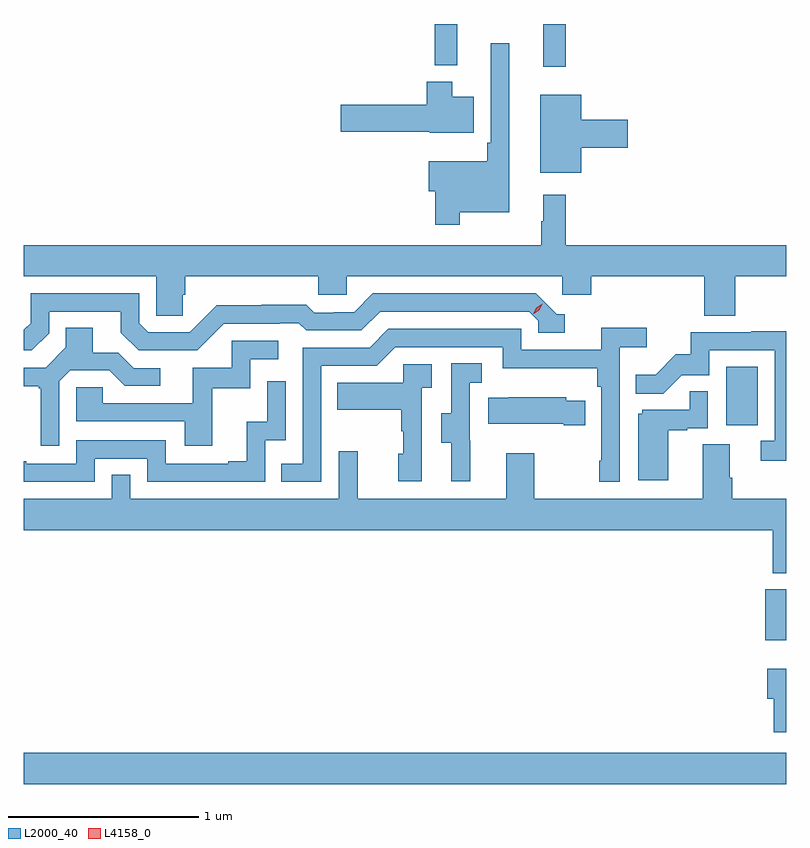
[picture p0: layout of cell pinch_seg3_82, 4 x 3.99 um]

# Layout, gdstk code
import gdstk
lib = gdstk.Library(unit=1e-6, precision=1e-09)
def R(c, l, rs):  # rectangles x0, y0, x1, y1
    for r in rs: c.add(gdstk.rectangle(r[:2], r[2:], *l))
def P(c, l, *ps):  # polygons
    for p in ps: c.add(gdstk.Polygon(p, *l))
L2000_40 = (2000, 40)
L4158_0 = (4158, 0)

pinch_seg3_82 = lib.new_cell('pinch_seg3_82')
R(pinch_seg3_82, L2000_40, [(1034.136,724.892,1038.136,725.056), (1038.026,725.645,1038.136,725.914), (1037.822,726.774,1037.986,727.081), (1036.862,728.655,1036.979,728.88), (1036.291,728.663,1036.409,728.88)])
P(pinch_seg3_82, L2000_40, [(1036.423,727.892),(1036.684,727.892),(1036.684,728.779),(1036.587,728.779),(1036.587,728.257),(1036.567,728.257),(1036.567,728.161),(1036.26,728.161),(1036.26,728.003),(1036.294,728.003),(1036.294,727.827),(1036.423,727.827)],
  [(1036.498,728.497),(1036.384,728.497),(1036.384,728.578),(1036.25,728.578),(1036.25,728.457),(1035.798,728.457),(1035.798,728.315),(1036.266,728.315),(1036.266,728.309),(1036.498,728.309)],
  [(1037.062,728.231),(1037.305,728.231),(1037.305,728.378),(1037.062,728.378),(1037.062,728.509),(1036.847,728.509),(1036.847,728.099),(1037.062,728.099)],
  [(1034.969,727.458),(1034.984,727.458),(1034.984,727.556),(1035.681,727.556),(1035.681,727.458),(1035.831,727.458),(1035.831,727.556),(1036.962,727.556),(1036.962,727.458),(1037.114,727.458),(1037.114,727.556),(1037.705,727.556),(1037.705,727.348),(1037.87,727.348),(1037.87,727.556),(1038.136,727.556),(1038.136,727.72),(1036.979,727.72),(1036.979,727.984),(1036.862,727.984),(1036.862,727.844),(1036.851,727.844),(1036.851,727.72),(1034.136,727.72),(1034.136,727.556),(1034.832,727.556),(1034.832,727.348),(1034.969,727.348)],
  [(1034.268,727.257),(1034.268,727.371),(1034.645,727.371),(1034.645,727.261),(1034.739,727.167),(1035.045,727.167),(1035.186,727.308),(1035.479,727.308),(1035.479,727.311),(1035.578,727.311),(1035.617,727.272),(1035.906,727.272),(1036.005,727.371),(1036.788,727.371),(1036.836,727.323),(1036.836,727.26),(1036.975,727.26),(1036.975,727.356),(1036.932,727.356),(1036.821,727.467),(1035.968,727.467),(1035.869,727.368),(1035.762,727.368),(1035.762,727.365),(1035.659,727.365),(1035.617,727.408),(1035.384,727.408),(1035.384,727.405),(1035.148,727.405),(1035.006,727.263),(1034.79,727.263),(1034.742,727.311),(1034.742,727.467),(1034.172,727.467),(1034.172,727.311),(1034.136,727.275),(1034.136,727.167),(1034.178,727.167)],
  [(1034.322,727.005),(1034.379,727.062),(1034.585,727.062),(1034.666,726.981),(1034.853,726.981),(1034.853,727.074),(1034.712,727.074),(1034.632,727.154),(1034.497,727.154),(1034.497,727.286),(1034.357,727.286),(1034.357,727.184),(1034.25,727.077),(1034.136,727.077),(1034.136,726.98),(1034.214,726.98),(1034.214,726.969),(1034.225,726.969),(1034.225,726.666),(1034.322,726.666)],
  [(1035.696,727.086),(1035.987,727.086),(1036.086,727.185),(1036.65,727.185),(1036.65,727.073),(1037.146,727.073),(1037.146,726.977),(1037.166,726.977),(1037.166,726.589),(1037.154,726.589),(1037.154,726.477),(1037.262,726.477),(1037.262,727.184),(1037.404,727.184),(1037.404,727.286),(1037.165,727.286),(1037.165,727.17),(1036.746,727.17),(1036.746,727.281),(1036.049,727.281),(1035.95,727.182),(1035.6,727.182),(1035.6,726.573),(1035.487,726.573),(1035.487,726.477),(1035.696,726.477)],
  [(1038.136,727.268),(1037.953,727.268),(1037.953,727.263),(1037.635,727.263),(1037.635,727.146),(1037.558,727.146),(1037.451,727.039),(1037.347,727.039),(1037.347,726.94),(1037.491,726.94),(1037.589,727.038),(1037.733,727.038),(1037.733,727.167),(1038.075,727.167),(1038.075,726.693),(1038.003,726.693),(1038.003,726.588),(1038.136,726.588)],
  [(1035.125,726.969),(1035.324,726.969),(1035.324,727.122),(1035.472,727.122),(1035.472,727.218),(1035.228,727.218),(1035.228,727.077),(1035.023,727.077),(1035.023,726.891),(1034.549,726.891),(1034.549,726.975),(1034.412,726.975),(1034.412,726.795),(1034.981,726.795),(1034.981,726.666),(1035.125,726.666)],
  [(1036.478,726.693),(1036.476,726.693),(1036.476,726.997),(1036.54,726.997),(1036.54,727.1),(1036.38,727.1),(1036.38,726.837),(1036.325,726.837),(1036.325,726.682),(1036.379,726.682),(1036.379,726.48),(1036.478,726.48)],
  [(1036.224,726.971),(1036.276,726.971),(1036.276,727.095),(1036.128,727.095),(1036.128,726.997),(1035.781,726.997),(1035.781,726.857),(1036.116,726.857),(1036.116,726.743),(1036.126,726.743),(1036.126,726.624),(1036.1,726.624),(1036.1,726.48),(1036.224,726.48)],
  [(1034.508,726.6),(1034.784,726.6),(1034.784,726.477),(1035.402,726.477),(1035.402,726.696),(1035.51,726.696),(1035.51,727.006),(1035.414,727.006),(1035.414,726.794),(1035.305,726.794),(1035.305,726.586),(1035.209,726.586),(1035.209,726.573),(1034.88,726.573),(1034.88,726.696),(1034.412,726.696),(1034.412,726.573),(1034.149,726.573),(1034.149,726.586),(1034.136,726.586),(1034.136,726.477),(1034.508,726.477)],
  [(1037.518,726.747),(1037.618,726.747),(1037.618,726.759),(1037.724,726.759),(1037.724,726.953),(1037.629,726.953),(1037.629,726.855),(1037.382,726.855),(1037.382,726.834),(1037.36,726.834),(1037.36,726.486),(1037.518,726.486)],
  [(1037.081,726.904),(1036.983,726.904),(1036.983,726.922),(1036.681,726.922),(1036.681,726.919),(1036.573,726.919),(1036.573,726.782),(1036.97,726.782),(1036.97,726.775),(1037.081,726.775)],
  [(1038.136,726.388),(1037.852,726.388),(1037.852,726.5),(1037.839,726.5),(1037.839,726.674),(1037.699,726.674),(1037.699,726.388),(1036.815,726.388),(1036.815,726.628),(1036.667,726.628),(1036.667,726.388),(1035.887,726.388),(1035.887,726.637),(1035.789,726.637),(1035.789,726.388),(1034.694,726.388),(1034.694,726.515),(1034.598,726.515),(1034.598,726.388),(1034.136,726.388),(1034.136,726.224),(1038.067,726.224),(1038.067,725.999),(1038.136,725.999)],
  [(1038.136,725.497),(1038.036,725.497),(1038.036,725.339),(1038.07,725.339),(1038.07,725.163),(1038.136,725.163)])
P(pinch_seg3_82, L4158_0, [(1036.81,727.359),(1036.81,727.359),(1036.826,727.391),(1036.857,727.411),(1036.857,727.411),(1036.857,727.41),(1036.841,727.378),(1036.811,727.359)])

lib.write_gds('pinch_seg3_82.gds')
